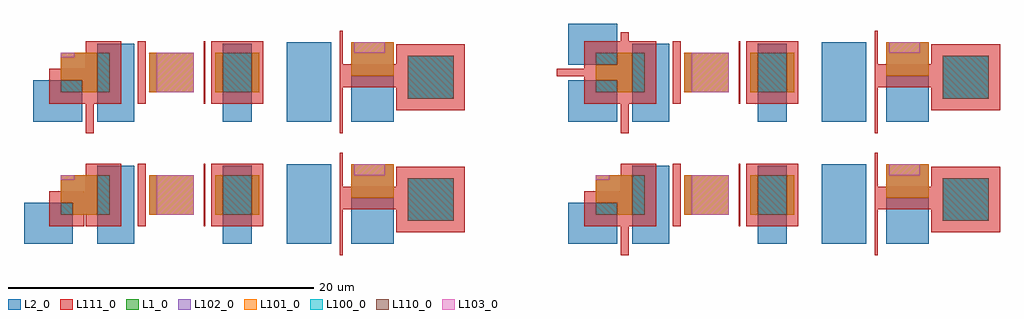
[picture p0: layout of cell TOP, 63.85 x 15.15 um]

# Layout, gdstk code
import gdstk
lib = gdstk.Library(unit=1e-6, precision=1e-09)
def R(c, l, rs):  # rectangles x0, y0, x1, y1
    for r in rs: c.add(gdstk.rectangle(r[:2], r[2:], *l))
def P(c, l, *ps):  # polygons
    for p in ps: c.add(gdstk.Polygon(p, *l))
L1_0 = (1, 0)
L2_0 = (2, 0)
L100_0 = (100, 0)
L101_0 = (101, 0)
L102_0 = (102, 0)
L103_0 = (103, 0)
L110_0 = (110, 0)
L111_0 = (111, 0)

child1 = lib.new_cell('CHILD1')
R(child1, L1_0, [(22.7,0,25.7,2.8), (0,0.4,3.2,3), (5.8,0.4,8.7,3), (10.1,0.4,13,3), (19,1.5,21.8,3.7)])
R(child1, L100_0, [(22.7,0,25.7,2.8), (0,0.4,0.8,1.2), (2.4,0.4,3.2,3), (10.6,0.4,12.5,3)])
R(child1, L101_0, [(5.8,0.4,8.7,3), (10.1,0.4,10.6,3), (12.5,0.4,13,3), (19,1.5,21.8,3.7)])
P(child1, L101_0, [(1.4,0.4),(1.4,1.2),(0,1.2),(0,2.2),(1.4,2.2),(1.4,3),(2.4,3),(2.4,0.4)])
R(child1, L102_0, [(22.7,0,25.7,2.8), (5.8,0.4,6.3,3), (10.1,0.4,13,3)])
P(child1, L102_0, [(19,1.5),(19,3.7),(19.2,3.7),(19.2,3),(21.2,3),(21.2,3.7),(21.8,3.7),(21.8,1.5)],
  [(0,0.4),(0,2.7),(0.9,2.7),(0.9,3),(3.2,3),(3.2,0.4)])
R(child1, L103_0, [(6.3,0.4,8.7,3), (19.2,3,21.2,3.7)])
R(child1, L110_0, [(22.7,0,25.7,2.8), (0,0.4,0.8,1.2), (2.4,0.4,3.2,3), (10.6,0.4,12.5,3)])
R(child1, L111_0, [(-0.75,-0.35,1.55,1.95), (1.65,-0.35,3.95,3.75), (5.05,-0.35,5.55,3.75), (9.35,-0.35,9.45,3.75), (9.85,-0.35,13.25,3.75)])
P(child1, L111_0, [(18.25,-2.25),(18.25,4.45),(18.45,4.45),(18.45,2.25),(21.95,2.25),(21.95,3.55),(26.45,3.55),(26.45,-0.75),(21.95,-0.75),(21.95,0.75),(18.45,0.75),(18.45,-2.25)])

cover = lib.new_cell('COVER')
R(cover, L2_0, [(0,0,3.2,2.7), (4.2,0,6.6,5.1), (12.4,0,14.3,5.1), (16.6,0,19.5,5.2), (20.8,0,23.6,3), (24.5,1.5,27.5,4.3)])
R(cover, L111_0, [(3.45,-0.75,3.95,3.45), (20.05,-0.75,20.25,3.75), (23.75,0.75,24.35,3.75)])

subcell = lib.new_cell('SUBCELL')
R(subcell, L100_0, [(2.6,1.9,3.2,2.7), (2.6,9.9,3.2,10.7), (1.8,11.7,3.2,12.5)])
R(subcell, L101_0, [(1.8,3.7,3.2,4.5)])
R(subcell, L102_0, [(1.8,12.2,2.7,12.5)])
R(subcell, L103_0, [(1.8,4.2,2.7,4.5)])
R(subcell, L110_0, [(2.6,1.9,3.2,2.7), (2.6,9.9,3.2,10.7), (1.8,11.7,3.2,12.5)])
R(subcell, L111_0, [(3.45,-0.75,3.95,1.15), (3.35,1.15,3.45,3.45), (3.45,7.25,3.95,9.15), (-0.75,10.95,3.45,11.45), (-0.75,10.95,1.05,11.45), (3.45,11.45,3.95,13.85), (3.45,13.25,3.95,13.85)])
P(subcell, L111_0, [(3.35,9.15),(3.35,11.45),(1.05,11.45),(1.05,13.25),(3.45,13.25),(3.45,9.15)])
subcell.add(gdstk.Reference(child1, (1.8,1.5)))
subcell.add(gdstk.Reference(child1, (1.8,9.5)))
subcell.add(gdstk.Reference(cover, (0,0)))
subcell.add(gdstk.Reference(cover, (0,8)))

top = lib.new_cell('TOP')
R(top, L2_0, [(-0.6,0,2.6,2.7), (4.2,0,6.6,5.1), (12.4,0,14.3,5.1), (16.6,0,19.5,5.2), (20.8,0,23.6,3), (24.5,1.5,27.5,4.3), (0,8,3.2,10.7), (4.2,8,6.6,13.1), (12.4,8,14.3,13.1), (16.6,8,19.5,13.2), (20.8,8,23.6,11), (24.5,9.5,27.5,12.3), (35,11.7,38.2,14.4)])
R(top, L100_0, [(2.6,9.9,3.2,10.7)])
R(top, L101_0, [(2.6,1.9,3.2,2.7), (1.8,3.7,3.2,4.5), (1.8,11.7,3.2,12.5)])
R(top, L103_0, [(1.8,4.2,2.7,4.5), (1.8,12.2,2.7,12.5)])
R(top, L110_0, [(2.6,9.9,3.2,10.7)])
R(top, L111_0, [(20.05,-0.75,20.25,3.75), (23.75,0.75,24.35,3.75), (3.45,7.25,3.95,11.45), (3.45,7.25,3.95,9.15), (20.05,7.25,20.25,11.75), (23.75,8.75,24.35,11.75), (3.35,9.15,3.45,11.45)])
top.add(gdstk.Reference(child1, (1.8,1.5)))
top.add(gdstk.Reference(child1, (1.8,9.5)))
top.add(gdstk.Reference(subcell, (35,0)))

lib.write_gds('TOP.gds')
